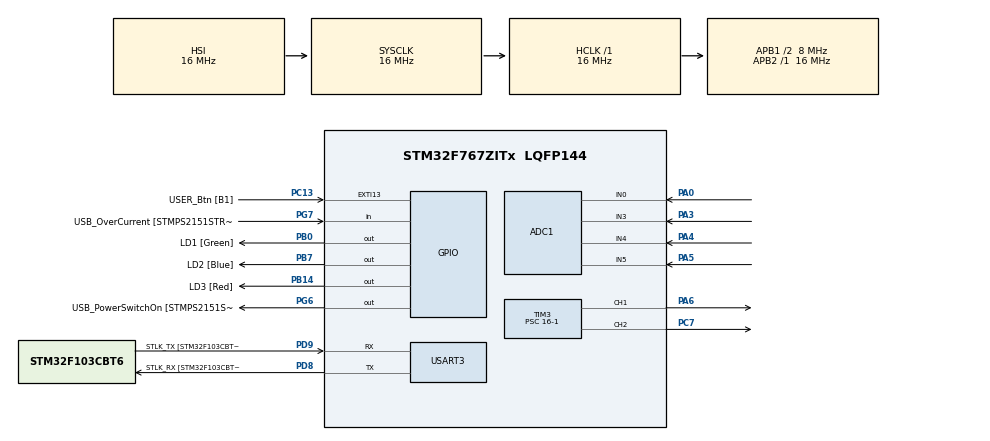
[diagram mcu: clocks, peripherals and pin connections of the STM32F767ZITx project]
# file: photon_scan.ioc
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ADC1.Channel-0\#ChannelRegularConversion=ADC_CHANNEL_0
ADC1.Channel-1\#ChannelRegularConversion=ADC_CHANNEL_0
ADC1.Channel-2\#ChannelRegularConversion=ADC_CHANNEL_0
ADC1.Channel-3\#ChannelRegularConversion=ADC_CHANNEL_0
ADC1.DMAContinuousRequests=ENABLE
ADC1.NbrOfConversion=4
ADC1.NbrOfConversionFlag=1
ADC1.Rank-0\#ChannelRegularConversion=1
ADC1.Rank-1\#ChannelRegularConversion=2
ADC1.Rank-2\#ChannelRegularConversion=3
ADC1.Rank-3\#ChannelRegularConversion=4
ADC1.SamplingTime-0\#ChannelRegularConversion=ADC_SAMPLETIME_3CYCLES
ADC1.SamplingTime-1\#ChannelRegularConversion=ADC_SAMPLETIME_3CYCLES
ADC1.SamplingTime-2\#ChannelRegularConversion=ADC_SAMPLETIME_3CYCLES
ADC1.SamplingTime-3\#ChannelRegularConversion=ADC_SAMPLETIME_3CYCLES
ADC1.master=1
CORTEX_M7.default_mode_Activation=1
Dma.ADC1.0.Direction=DMA_PERIPH_TO_MEMORY
Dma.ADC1.0.FIFOMode=DMA_FIFOMODE_DISABLE
Dma.ADC1.0.Instance=DMA2_Stream0
Dma.ADC1.0.MemDataAlignment=DMA_MDATAALIGN_HALFWORD
Dma.ADC1.0.MemInc=DMA_MINC_ENABLE
Dma.ADC1.0.Mode=DMA_CIRCULAR
Dma.ADC1.0.PeriphDataAlignment=DMA_PDATAALIGN_HALFWORD
Dma.ADC1.0.PeriphInc=DMA_PINC_DISABLE
Dma.ADC1.0.Priority=DMA_PRIORITY_LOW
Dma.Request0=ADC1
FREERTOS.Tasks01=defaultTask,24,256,StartDefaultTask,Default,NULL,Dynamic,NULL,NULL
FREERTOS.configUSE_NEWLIB_REENTRANT=1
Mcu.Family=STM32F7
Mcu.Name=STM32F767ZITx
Mcu.Package=LQFP144
NVIC.ADC_IRQn=true\:5\:0\:false\:false\:true\:true\:true\:true\:true
NVIC.DMA2_Stream0_IRQn=true\:5\:0\:false\:false\:true\:true\:false\:true\:true
NVIC.EXTI15_10_IRQn=true\:5\:0\:false\:false\:true\:true\:true\:true\:true
NVIC.PriorityGroup=NVIC_PRIORITYGROUP_4
NVIC.TIM6_DAC_IRQn=true\:15\:0\:false\:false\:true\:false\:false\:true\:true
NVIC.TimeBase=TIM6_DAC_IRQn
NVIC.TimeBaseIP=TIM6
PA0/WKUP.Signal=ADCx_IN0
PA1.GPIO_Label=RMII_REF_CLK [LAN8742A-CZ-TR_REFCLK0]
PA1.Signal=ETH_REF_CLK
PA10.GPIO_Label=USB_ID
PA10.Signal=USB_OTG_FS_ID
PA11.GPIO_Label=USB_DM
PA11.Signal=USB_OTG_FS_DM
PA12.GPIO_Label=USB_DP
PA12.Signal=USB_OTG_FS_DP
PA13.GPIO_Label=TMS
PA13.Mode=Serial_Wire
PA13.Signal=SYS_JTMS-SWDIO
PA14.GPIO_Label=TCK
PA14.Mode=Serial_Wire
PA14.Signal=SYS_JTCK-SWCLK
PA2.GPIO_Label=RMII_MDIO [LAN8742A-CZ-TR_MDIO]
PA2.Signal=ETH_MDIO
PA3.Signal=ADCx_IN3
PA4.Signal=ADCx_IN4
PA5.Signal=ADCx_IN5
PA6.Signal=S_TIM3_CH1
PA7.GPIO_Label=RMII_CRS_DV [LAN8742A-CZ-TR_CRS_DV]
PA7.Signal=ETH_CRS_DV
PA8.GPIO_Label=USB_SOF [TP1]
PA8.Signal=USB_OTG_FS_SOF
PA9.GPIO_Label=USB_VBUS
PA9.Signal=USB_OTG_FS_VBUS
PB0.GPIO_Label=LD1 [Green]
PB0.Signal=GPIO_Output
PB13.GPIO_Label=RMII_TXD1 [LAN8742A-CZ-TR_TXD1]
PB13.Signal=ETH_TXD1
PB14.GPIO_Label=LD3 [Red]
PB14.Signal=GPIO_Output
PB3.GPIO_Label=SW0
PB3.Signal=SYS_JTDO-SWO
PB7.GPIO_Label=LD2 [Blue]
PB7.Signal=GPIO_Output
PC1.GPIO_Label=RMII_MDC [LAN8742A-CZ-TR_MDC]
PC1.Signal=ETH_MDC
PC13.GPIO_Label=USER_Btn [B1]
PC13.Signal=GPXTI13
PC14/OSC32_IN.Signal=RCC_OSC32_IN
PC15/OSC32_OUT.Signal=RCC_OSC32_OUT
PC4.GPIO_Label=RMII_RXD0 [LAN8742A-CZ-TR_RXD0]
PC4.Signal=ETH_RXD0
PC5.GPIO_Label=RMII_RXD1 [LAN8742A-CZ-TR_RXD1]
PC5.Signal=ETH_RXD1
PC7.Signal=S_TIM3_CH2
PD8.GPIO_Label=STLK_RX [STM32F103CBT6_PA3]
PD8.Mode=Asynchronous
PD8.Signal=USART3_TX
PD9.GPIO_Label=STLK_TX [STM32F103CBT6_PA2]
PD9.Mode=Asynchronous
PD9.Signal=USART3_RX
PG11.GPIO_Label=RMII_TX_EN [LAN8742A-CZ-TR_TXEN]
PG11.Signal=ETH_TX_EN
PG13.GPIO_Label=RMII_TXD0 [LAN8742A-CZ-TR_TXD0]
PG13.Signal=ETH_TXD0
PG6.GPIO_Label=USB_PowerSwitchOn [STMPS2151STR_EN]
PG6.Signal=GPIO_Output
PG7.GPIO_Label=USB_OverCurrent [STMPS2151STR_FAULT]
PG7.Signal=GPIO_Input
PH0/OSC_IN.GPIO_Label=MCO [STM32F103CBT6_PA8]
PH0/OSC_IN.Signal=RCC_OSC_IN
PH1/OSC_OUT.Signal=RCC_OSC_OUT
ProjectManager.HeapSize=0x200
ProjectManager.StackSize=0x400
ProjectManager.TargetToolchain=STM32CubeIDE
RCC.48MHZClocksFreq_Value=24000000
RCC.AHBFreq_Value=16000000
RCC.APB1CLKDivider=RCC_HCLK_DIV2
RCC.APB1Freq_Value=8000000
RCC.APB1TimFreq_Value=16000000
RCC.APB2Freq_Value=16000000
RCC.APB2TimFreq_Value=16000000
RCC.CortexFreq_Value=16000000
RCC.HCLKFreq_Value=16000000
RCC.HSE_VALUE=16000000
RCC.HSI_VALUE=16000000
RCC.LSE_VALUE=32768
RCC.PLLMUL=RCC_PLL_MUL9
RCC.PRESCALERUSB=RCC_USBCLKSOURCE_PLL_DIV1_5
RCC.SYSCLKFreq_VALUE=16000000
RCC.SYSCLKSourceVirtual=RCC_SYSCLKSOURCE_PLLCLK
RCC.USBFreq_Value=96000000
RCC.VCOOutputFreq_Value=192000000
SH.ADCx_IN0.0=ADC1_IN0,IN0
SH.ADCx_IN3.0=ADC1_IN3,IN3
SH.ADCx_IN4.0=ADC1_IN4,IN4
SH.ADCx_IN5.0=ADC1_IN5,IN5
SH.S_TIM3_CH1.0=TIM3_CH1,PWM Generation1 CH1
SH.S_TIM3_CH2.0=TIM3_CH2,PWM Generation2 CH2
TIM3.Channel-PWM\ Generation1\ CH1=TIM_CHANNEL_1
TIM3.Channel-PWM\ Generation2\ CH2=TIM_CHANNEL_2
TIM3.Period=20000-1
TIM3.Prescaler=16-1
USART3.VirtualMode-Asynchronous=VM_ASYNC
VP_FREERTOS_VS_CMSIS_V2.Mode=CMSIS_V2
VP_SYS_VS_tim6.Mode=TIM6
board=NUCLEO-F767ZI

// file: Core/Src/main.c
/* USER CODE BEGIN Header */
/**
 ******************************************************************************
 * @file           : main.c
 * @brief          : Main program body
 ******************************************************************************
 * @attention
 *
 * Copyright (c) 2026 STMicroelectronics.
 * All rights reserved.
 *
 * This software is licensed under terms that can be found in the LICENSE file
 * in the root directory of this software component.
 * If no LICENSE file comes with this software, it is provided AS-IS.
 *
 ******************************************************************************
 */
/* USER CODE END Header */
#include "main.h"
#include "cmsis_os.h"

/* USER CODE BEGIN Includes */
#include "ldrquad.h"
#include "servo.h"
#include "scanner.h"
#include "semphr.h"
#include <stdio.h>
/* USER CODE END Includes */

ADC_HandleTypeDef hadc1;
DMA_HandleTypeDef hdma_adc1;

TIM_HandleTypeDef htim3;

UART_HandleTypeDef huart3;

/* Definitions for defaultTask */
osThreadId_t defaultTaskHandle;
const osThreadAttr_t defaultTask_attributes = {
		.name = "defaultTask",
		.stack_size = 256 * 4,
		.priority = (osPriority_t) osPriorityNormal,
};
/* USER CODE BEGIN PV */
osThreadId_t scanner_init_task_handle;
const osThreadAttr_t scanner_init_task_attributes = {
		.name = "scanner_init_task",
		.stack_size = 256 * 4,
		.priority = (osPriority_t) osPriorityHigh,
};

osThreadId_t blueBtnTaskHandle;
const osThreadAttr_t blueBtnTask_attributes = {
		.name = "blueBtnTask",
		.stack_size = 256 * 4,
		.priority = (osPriority_t) osPriorityNormal2,
};

osThreadId_t scanner_task_handle;
const osThreadAttr_t scanner_task_attributes = {
		.name = "scanner_task",
		.stack_size = 256 * 4,
		.priority = (osPriority_t) osPriorityNormal1,
};

volatile Servo pan;
volatile Servo tilt;
volatile LdrQuad ldrquad;
volatile Scanner scanner;
SemaphoreHandle_t uartTxMutex;
/* USER CODE END PV */

void SystemClock_Config(void);
static void MPU_Config(void);
static void MX_GPIO_Init(void);
static void MX_DMA_Init(void);
static void MX_TIM3_Init(void);
static void MX_ADC1_Init(void);
static void MX_USART3_UART_Init(void);
void StartDefaultTask(void *argument);

/* USER CODE BEGIN PFP */
void blue_btn_task(void *argument);
void blue_led_toggle(void);
void green_led_toggle(void);
void red_led_toggle(void);
void scanner_task(void *argument);
void scanner_init_task(void *argument);
/* USER CODE END PFP */

int main(void)
{

	/* MPU Configuration--------------------------------------------------------*/
	MPU_Config();

	/* MCU Configuration--------------------------------------------------------*/

	/* Reset of all peripherals, Initializes the Flash interface and the Systick. */
	HAL_Init();

	/* Configure the system clock */
	SystemClock_Config();

	/* Initialize all configured peripherals */
	MX_GPIO_Init();
	MX_DMA_Init();
	MX_TIM3_Init();
	//MX_ADC1_Init();
	MX_USART3_UART_Init();
	/* USER CODE BEGIN 2 */
	uartTxMutex = xSemaphoreCreateMutex();
	pan = servo_init(&htim3, TIM_CHANNEL_1, 0, 180);
	tilt = servo_init(&htim3, TIM_CHANNEL_2, 90, 180);

	/* USER CODE END 2 */

	/* Init scheduler */
	osKernelInitialize();

	/* Create the thread(s) */
	/* creation of defaultTask */
	defaultTaskHandle = osThreadNew(StartDefaultTask, NULL, &defaultTask_attributes);

	/* USER CODE BEGIN RTOS_THREADS */
	scanner_init_task_handle = osThreadNew(scanner_init_task, NULL, &scanner_init_task_attributes);
	blueBtnTaskHandle = osThreadNew(blue_btn_task, NULL, &blueBtnTask_attributes);
	scanner_task_handle = osThreadNew(scanner_task, NULL, &scanner_task_attributes);
	/* USER CODE END RTOS_THREADS */

	printf("start scheduler...\r\n");
	/* Start scheduler */
	osKernelStart();

	/* We should never get here as control is now taken by the scheduler */

	/* Infinite loop */
	while (1)
	{

	}
}

void SystemClock_Config(void)
{
	RCC_OscInitTypeDef RCC_OscInitStruct = {0};
	RCC_ClkInitTypeDef RCC_ClkInitStruct = {0};

	/** Configure the main internal regulator output voltage
	 */
	__HAL_RCC_PWR_CLK_ENABLE();
	__HAL_PWR_VOLTAGESCALING_CONFIG(PWR_REGULATOR_VOLTAGE_SCALE3);

	/** Initializes the RCC Oscillators according to the specified parameters
	 * in the RCC_OscInitTypeDef structure.
	 */
	RCC_OscInitStruct.OscillatorType = RCC_OSCILLATORTYPE_HSI;
	RCC_OscInitStruct.HSIState = RCC_HSI_ON;
	RCC_OscInitStruct.HSICalibrationValue = RCC_HSICALIBRATION_DEFAULT;
	RCC_OscInitStruct.PLL.PLLState = RCC_PLL_NONE;
	if (HAL_RCC_OscConfig(&RCC_OscInitStruct) != HAL_OK)
	{
		Error_Handler();
	}

	/** Initializes the CPU, AHB and APB buses clocks
	 */
	RCC_ClkInitStruct.ClockType = RCC_CLOCKTYPE_HCLK|RCC_CLOCKTYPE_SYSCLK
			|RCC_CLOCKTYPE_PCLK1|RCC_CLOCKTYPE_PCLK2;
	RCC_ClkInitStruct.SYSCLKSource = RCC_SYSCLKSOURCE_HSI;
	RCC_ClkInitStruct.AHBCLKDivider = RCC_SYSCLK_DIV1;
	RCC_ClkInitStruct.APB1CLKDivider = RCC_HCLK_DIV2;
	RCC_ClkInitStruct.APB2CLKDivider = RCC_HCLK_DIV1;

	if (HAL_RCC_ClockConfig(&RCC_ClkInitStruct, FLASH_LATENCY_0) != HAL_OK)
	{
		Error_Handler();
	}
}

static void MX_ADC1_Init(void)
{

	ADC_ChannelConfTypeDef sConfig = {0};

	/** Configure the global features of the ADC (Clock, Resolution, Data Alignment and number of conversion)
	 */
	hadc1.Instance = ADC1;
	hadc1.Init.ClockPrescaler = ADC_CLOCK_SYNC_PCLK_DIV2;
	hadc1.Init.Resolution = ADC_RESOLUTION_12B;
	hadc1.Init.ScanConvMode = ADC_SCAN_ENABLE;
	hadc1.Init.ContinuousConvMode = DISABLE;
	hadc1.Init.DiscontinuousConvMode = DISABLE;
	hadc1.Init.ExternalTrigConvEdge = ADC_EXTERNALTRIGCONVEDGE_NONE;
	hadc1.Init.ExternalTrigConv = ADC_SOFTWARE_START;
	hadc1.Init.DataAlign = ADC_DATAALIGN_RIGHT;
	hadc1.Init.NbrOfConversion = 4;
	hadc1.Init.DMAContinuousRequests = ENABLE;
	hadc1.Init.EOCSelection = ADC_EOC_SINGLE_CONV;
	if (HAL_ADC_Init(&hadc1) != HAL_OK)
	{
		Error_Handler();
	}

	/** Configure for the selected ADC regular channel its corresponding rank in the sequencer and its sample time.
	 */
	sConfig.Channel = ADC_CHANNEL_0;
	sConfig.Rank = ADC_REGULAR_RANK_1;
	sConfig.SamplingTime = ADC_SAMPLETIME_3CYCLES;
	if (HAL_ADC_ConfigChannel(&hadc1, &sConfig) != HAL_OK)
	{
		Error_Handler();
	}

	/** Configure for the selected ADC regular channel its corresponding rank in the sequencer and its sample time.
	 */
	sConfig.Rank = ADC_REGULAR_RANK_2;
	if (HAL_ADC_ConfigChannel(&hadc1, &sConfig) != HAL_OK)
	{
		Error_Handler();
	}

	/** Configure for the selected ADC regular channel its corresponding rank in the sequencer and its sample time.
	 */
	sConfig.Rank = ADC_REGULAR_RANK_3;
	if (HAL_ADC_ConfigChannel(&hadc1, &sConfig) != HAL_OK)
	{
		Error_Handler();
	}

	/** Configure for the selected ADC regular channel its corresponding rank in the sequencer and its sample time.
	 */
	sConfig.Rank = ADC_REGULAR_RANK_4;
	if (HAL_ADC_ConfigChannel(&hadc1, &sConfig) != HAL_OK)
	{
		Error_Handler();
	}

}

static void MX_TIM3_Init(void)
{

	TIM_MasterConfigTypeDef sMasterConfig = {0};
	TIM_OC_InitTypeDef sConfigOC = {0};

	htim3.Instance = TIM3;
	htim3.Init.Prescaler = 16-1;
	htim3.Init.CounterMode = TIM_COUNTERMODE_UP;
	htim3.Init.Period = 20000-1;
	htim3.Init.ClockDivision = TIM_CLOCKDIVISION_DIV1;
	htim3.Init.AutoReloadPreload = TIM_AUTORELOAD_PRELOAD_DISABLE;
	if (HAL_TIM_PWM_Init(&htim3) != HAL_OK)
	{
		Error_Handler();
	}
	sMasterConfig.MasterOutputTrigger = TIM_TRGO_RESET;
	sMasterConfig.MasterSlaveMode = TIM_MASTERSLAVEMODE_DISABLE;
	if (HAL_TIMEx_MasterConfigSynchronization(&htim3, &sMasterConfig) != HAL_OK)
	{
		Error_Handler();
	}
	sConfigOC.OCMode = TIM_OCMODE_PWM1;
	sConfigOC.Pulse = 0;
	sConfigOC.OCPolarity = TIM_OCPOLARITY_HIGH;
	sConfigOC.OCFastMode = TIM_OCFAST_DISABLE;
	if (HAL_TIM_PWM_ConfigChannel(&htim3, &sConfigOC, TIM_CHANNEL_1) != HAL_OK)
	{
		Error_Handler();
	}
	if (HAL_TIM_PWM_ConfigChannel(&htim3, &sConfigOC, TIM_CHANNEL_2) != HAL_OK)
	{
		Error_Handler();
	}
	/* USER CODE BEGIN TIM3_Init 2 */
	HAL_TIM_Base_Start(&htim3);
	if (HAL_TIM_PWM_Start(&htim3, TIM_CHANNEL_1) != HAL_OK) {
		Error_Handler();
	}
	if (HAL_TIM_PWM_Start(&htim3, TIM_CHANNEL_2) != HAL_OK) {
		Error_Handler();
	}
	/* USER CODE END TIM3_Init 2 */
	HAL_TIM_MspPostInit(&htim3);

}

static void MX_USART3_UART_Init(void)
{

	huart3.Instance = USART3;
	huart3.Init.BaudRate = 115200;
	huart3.Init.WordLength = UART_WORDLENGTH_8B;
	huart3.Init.StopBits = UART_STOPBITS_1;
	huart3.Init.Parity = UART_PARITY_NONE;
	huart3.Init.Mode = UART_MODE_TX_RX;
	huart3.Init.HwFlowCtl = UART_HWCONTROL_NONE;
	huart3.Init.OverSampling = UART_OVERSAMPLING_16;
	huart3.Init.OneBitSampling = UART_ONE_BIT_SAMPLE_DISABLE;
	huart3.AdvancedInit.AdvFeatureInit = UART_ADVFEATURE_NO_INIT;
	if (HAL_UART_Init(&huart3) != HAL_OK)
	{
		Error_Handler();
	}

}

static void MX_DMA_Init(void)
{

	/* DMA controller clock enable */
	__HAL_RCC_DMA2_CLK_ENABLE();

	/* DMA interrupt init */
	/* DMA2_Stream0_IRQn interrupt configuration */
	HAL_NVIC_SetPriority(DMA2_Stream0_IRQn, 5, 0);
	HAL_NVIC_EnableIRQ(DMA2_Stream0_IRQn);

}

static void MX_GPIO_Init(void)
{
	GPIO_InitTypeDef GPIO_InitStruct = {0};

	/* GPIO Ports Clock Enable */
	__HAL_RCC_GPIOC_CLK_ENABLE();
	__HAL_RCC_GPIOH_CLK_ENABLE();
	__HAL_RCC_GPIOA_CLK_ENABLE();
	__HAL_RCC_GPIOB_CLK_ENABLE();
	__HAL_RCC_GPIOD_CLK_ENABLE();
	__HAL_RCC_GPIOG_CLK_ENABLE();

	/*Configure GPIO pin Output Level */
	HAL_GPIO_WritePin(GPIOB, LD1_Pin|LD3_Pin|LD2_Pin, GPIO_PIN_RESET);

	/*Configure GPIO pin Output Level */
	HAL_GPIO_WritePin(USB_PowerSwitchOn_GPIO_Port, USB_PowerSwitchOn_Pin, GPIO_PIN_RESET);

	/*Configure GPIO pin : USER_Btn_Pin */
	GPIO_InitStruct.Pin = USER_Btn_Pin;
	GPIO_InitStruct.Mode = GPIO_MODE_IT_RISING;
	GPIO_InitStruct.Pull = GPIO_NOPULL;
	HAL_GPIO_Init(USER_Btn_GPIO_Port, &GPIO_InitStruct);

	/*Configure GPIO pins : RMII_MDC_Pin RMII_RXD0_Pin RMII_RXD1_Pin */
	GPIO_InitStruct.Pin = RMII_MDC_Pin|RMII_RXD0_Pin|RMII_RXD1_Pin;
	GPIO_InitStruct.Mode = GPIO_MODE_AF_PP;
	GPIO_InitStruct.Pull = GPIO_NOPULL;
	GPIO_InitStruct.Speed = GPIO_SPEED_FREQ_HIGH;
	GPIO_InitStruct.Alternate = GPIO_AF11_ETH;
	HAL_GPIO_Init(GPIOC, &GPIO_InitStruct);

	/*Configure GPIO pins : RMII_REF_CLK_Pin RMII_MDIO_Pin RMII_CRS_DV_Pin */
	GPIO_InitStruct.Pin = RMII_REF_CLK_Pin|RMII_MDIO_Pin|RMII_CRS_DV_Pin;
	GPIO_InitStruct.Mode = GPIO_MODE_AF_PP;
	GPIO_InitStruct.Pull = GPIO_NOPULL;
	GPIO_InitStruct.Speed = GPIO_SPEED_FREQ_HIGH;
	GPIO_InitStruct.Alternate = GPIO_AF11_ETH;
	HAL_GPIO_Init(GPIOA, &GPIO_InitStruct);

	/*Configure GPIO pins : LD1_Pin LD3_Pin LD2_Pin */
	GPIO_InitStruct.Pin = LD1_Pin|LD3_Pin|LD2_Pin;
	GPIO_InitStruct.Mode = GPIO_MODE_OUTPUT_PP;
	GPIO_InitStruct.Pull = GPIO_NOPULL;
	GPIO_InitStruct.Speed = GPIO_SPEED_FREQ_LOW;
	HAL_GPIO_Init(GPIOB, &GPIO_InitStruct);

	/*Configure GPIO pin : RMII_TXD1_Pin */
	GPIO_InitStruct.Pin = RMII_TXD1_Pin;
	GPIO_InitStruct.Mode = GPIO_MODE_AF_PP;
	GPIO_InitStruct.Pull = GPIO_NOPULL;
	GPIO_InitStruct.Speed = GPIO_SPEED_FREQ_HIGH;
	GPIO_InitStruct.Alternate = GPIO_AF11_ETH;
	HAL_GPIO_Init(RMII_TXD1_GPIO_Port, &GPIO_InitStruct);

	/*Configure GPIO pin : USB_PowerSwitchOn_Pin */
	GPIO_InitStruct.Pin = USB_PowerSwitchOn_Pin;
	GPIO_InitStruct.Mode = GPIO_MODE_OUTPUT_PP;
	GPIO_InitStruct.Pull = GPIO_NOPULL;
	GPIO_InitStruct.Speed = GPIO_SPEED_FREQ_LOW;
	HAL_GPIO_Init(USB_PowerSwitchOn_GPIO_Port, &GPIO_InitStruct);

	/*Configure GPIO pin : USB_OverCurrent_Pin */
	GPIO_InitStruct.Pin = USB_OverCurrent_Pin;
	GPIO_InitStruct.Mode = GPIO_MODE_INPUT;
	GPIO_InitStruct.Pull = GPIO_NOPULL;
	HAL_GPIO_Init(USB_OverCurrent_GPIO_Port, &GPIO_InitStruct);

	/*Configure GPIO pins : USB_SOF_Pin USB_ID_Pin USB_DM_Pin USB_DP_Pin */
	GPIO_InitStruct.Pin = USB_SOF_Pin|USB_ID_Pin|USB_DM_Pin|USB_DP_Pin;
	GPIO_InitStruct.Mode = GPIO_MODE_AF_PP;
	GPIO_InitStruct.Pull = GPIO_NOPULL;
	GPIO_InitStruct.Speed = GPIO_SPEED_FREQ_VERY_HIGH;
	GPIO_InitStruct.Alternate = GPIO_AF10_OTG_FS;
	HAL_GPIO_Init(GPIOA, &GPIO_InitStruct);

	/*Configure GPIO pin : USB_VBUS_Pin */
	GPIO_InitStruct.Pin = USB_VBUS_Pin;
	GPIO_InitStruct.Mode = GPIO_MODE_INPUT;
	GPIO_InitStruct.Pull = GPIO_NOPULL;
	HAL_GPIO_Init(USB_VBUS_GPIO_Port, &GPIO_InitStruct);

	/*Configure GPIO pins : RMII_TX_EN_Pin RMII_TXD0_Pin */
	GPIO_InitStruct.Pin = RMII_TX_EN_Pin|RMII_TXD0_Pin;
	GPIO_InitStruct.Mode = GPIO_MODE_AF_PP;
	GPIO_InitStruct.Pull = GPIO_NOPULL;
	GPIO_InitStruct.Speed = GPIO_SPEED_FREQ_HIGH;
	GPIO_InitStruct.Alternate = GPIO_AF11_ETH;
	HAL_GPIO_Init(GPIOG, &GPIO_InitStruct);

	/* EXTI interrupt init*/
	HAL_NVIC_SetPriority(EXTI15_10_IRQn, 5, 0);
	HAL_NVIC_EnableIRQ(EXTI15_10_IRQn);

}

/* USER CODE BEGIN 4 */
void scanner_init_task(void *argument) {
	//blue_led_toggle();
	MX_ADC1_Init();
	//vTaskDelay(1000 / portTICK_PERIOD_MS);
	ldrquad = (LdrQuad) { .adc = &hadc1, .buffer = {0} };
	scanner = scanner_init(&ldrquad, &pan, &tilt);
	// TODO i think this will kick off an ADC conversion, so might want to move into scanner
	ldrquad_start_dma(scanner.ldrquad);
	//red_led_toggle();
	vTaskDelete(NULL);
}

void blue_btn_task(void *argument) {
	static uint32_t notification;
	while (1) {
		notification = ulTaskNotifyTake(pdTRUE, portMAX_DELAY);
		if (notification) {
			//blue_led_toggle();
			if (scanner.state == BUSY) {
				scanner_cancel(&scanner);
			} else {
				scanner_start(&scanner);
			}
		}
	}
}

void blue_led_toggle(void) {
	HAL_GPIO_TogglePin(GPIOB, LD2_Pin);
}

void green_led_toggle(void) {
	HAL_GPIO_TogglePin(GPIOB, LD1_Pin);
}

void red_led_toggle(void) {
	HAL_GPIO_TogglePin(GPIOB, LD3_Pin);
}

// Called when an ADC conversion completes
void scanner_task(void *argument) {
	static uint32_t notification;

	while (1) {
		notification = ulTaskNotifyTake(pdTRUE, portMAX_DELAY);
		if (notification) {
			scanner_analyze(&scanner);

			//red_led_toggle();
			switch (scanner.state) {
			case BUSY:
				vTaskDelay(500 / portTICK_PERIOD_MS);
				scanner_step(&scanner);
				break;
			case DONE:
				printf("DONE\r\n");
				printf("min: %d\r\n", scanner.result.min);
				printf("max: %d\r\n", scanner.result.max);
				// TODO need switch+led for light mode vs dark mode
				// TODO move servos to position of min/max
				break;
			default:
				break;
			}
		}
	}
}

void HAL_ADC_ConvCpltCallback(ADC_HandleTypeDef* hadc) {
	if (hadc == &hadc1) {
		//green_led_toggle();
		BaseType_t xHigherPriorityTaskWoken = pdFALSE;
		// Notify the thread so it will wake up when the ISR is complete
		vTaskNotifyGiveFromISR(scanner_task_handle, &xHigherPriorityTaskWoken);
		portYIELD_FROM_ISR(xHigherPriorityTaskWoken);
	}
}

void HAL_GPIO_EXTI_Callback(uint16_t GPIO_Pin) {
	if (GPIO_Pin == USER_Btn_Pin) {
		BaseType_t xHigherPriorityTaskWoken = pdFALSE;
		// Notify the thread so it will wake up when the ISR is complete
		vTaskNotifyGiveFromISR(blueBtnTaskHandle, &xHigherPriorityTaskWoken);
		portYIELD_FROM_ISR(xHigherPriorityTaskWoken);
	}
}

int _write(int file, char* ptr, int len) {
	if (uartTxMutex) xSemaphoreTake(uartTxMutex, portMAX_DELAY);
	HAL_UART_Transmit(&huart3, (uint8_t*)ptr, len, HAL_MAX_DELAY);
	if (uartTxMutex) xSemaphoreGive(uartTxMutex);
	return len;
}
/* USER CODE END 4 */

void StartDefaultTask(void *argument)
{
	for(;;) {
		osDelay(1);
	}
}

/* MPU Configuration */

void MPU_Config(void)
{
	MPU_Region_InitTypeDef MPU_InitStruct = {0};

	/* Disables the MPU */
	HAL_MPU_Disable();

	/** Initializes and configures the Region and the memory to be protected
	 */
	MPU_InitStruct.Enable = MPU_REGION_ENABLE;
	MPU_InitStruct.Number = MPU_REGION_NUMBER0;
	MPU_InitStruct.BaseAddress = 0x0;
	MPU_InitStruct.Size = MPU_REGION_SIZE_4GB;
	MPU_InitStruct.SubRegionDisable = 0x87;
	MPU_InitStruct.TypeExtField = MPU_TEX_LEVEL0;
	MPU_InitStruct.AccessPermission = MPU_REGION_NO_ACCESS;
	MPU_InitStruct.DisableExec = MPU_INSTRUCTION_ACCESS_DISABLE;
	MPU_InitStruct.IsShareable = MPU_ACCESS_SHAREABLE;
	MPU_InitStruct.IsCacheable = MPU_ACCESS_NOT_CACHEABLE;
	MPU_InitStruct.IsBufferable = MPU_ACCESS_NOT_BUFFERABLE;

	HAL_MPU_ConfigRegion(&MPU_InitStruct);
	/* Enables the MPU */
	HAL_MPU_Enable(MPU_PRIVILEGED_DEFAULT);

}

void HAL_TIM_PeriodElapsedCallback(TIM_HandleTypeDef *htim)
{
	if (htim->Instance == TIM6)
	{
		HAL_IncTick();
	}
}

void Error_Handler(void)
{
	/* USER CODE BEGIN Error_Handler_Debug */
	/* User can add his own implementation to report the HAL error return state */
	printf("error :(\r\n");
	__disable_irq();
	while (1)
	{
	}
	/* USER CODE END Error_Handler_Debug */
}
